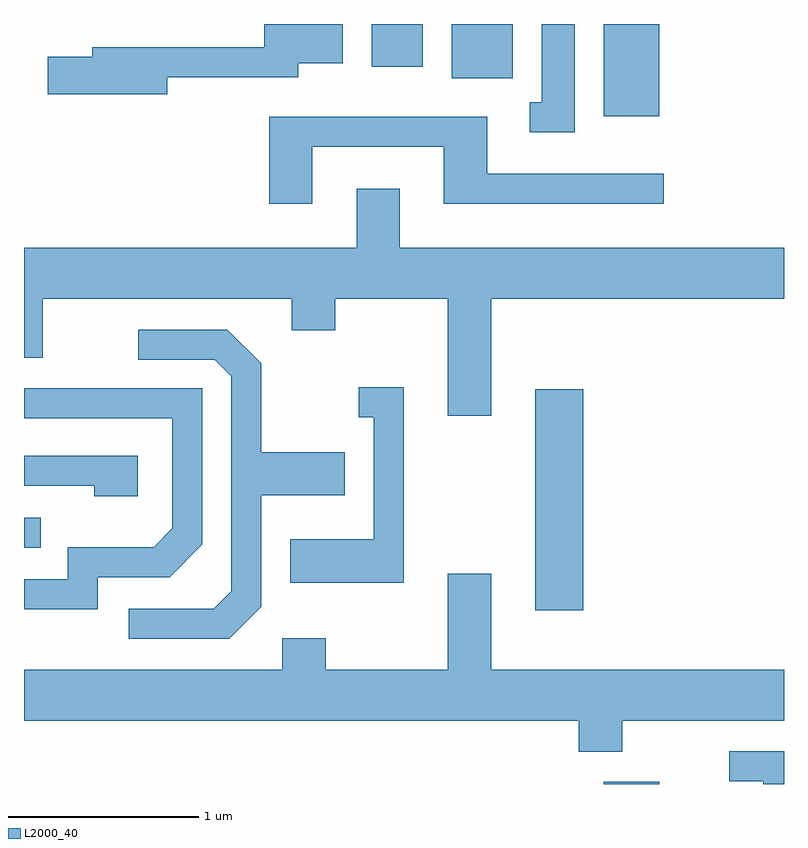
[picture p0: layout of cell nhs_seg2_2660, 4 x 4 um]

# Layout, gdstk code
import gdstk
lib = gdstk.Library(unit=1e-6, precision=1e-09)
def R(c, l, rs):  # rectangles x0, y0, x1, y1
    for r in rs: c.add(gdstk.rectangle(r[:2], r[2:], *l))
def P(c, l, *ps):  # polygons
    for p in ps: c.add(gdstk.Polygon(p, *l))
L2000_40 = (2000, 40)

nhs_seg2_2660 = lib.new_cell('nhs_seg2_2660')
R(nhs_seg2_2660, L2000_40, [(266.661,1005.802,266.954,1005.814), (266.301,1006.716,266.554,1007.879), (263.611,1007.046,263.698,1007.204), (266.661,1009.316,266.954,1009.802), (265.861,1009.516,266.184,1009.802), (265.441,1009.576,265.709,1009.802)])
P(nhs_seg2_2660, L2000_40, [(266.509,1009.802),(266.336,1009.802),(266.336,1009.389),(266.273,1009.389),(266.273,1009.231),(266.509,1009.231)],
  [(264.364,1009.521),(265.054,1009.521),(265.054,1009.596),(265.289,1009.596),(265.289,1009.802),(264.876,1009.802),(264.876,1009.679),(263.971,1009.679),(263.971,1009.629),(263.736,1009.629),(263.736,1009.431),(264.364,1009.431)],
  [(265.129,1009.156),(265.821,1009.156),(265.821,1008.856),(266.978,1008.856),(266.978,1009.014),(266.049,1009.014),(266.049,1009.314),(264.901,1009.314),(264.901,1008.856),(265.129,1008.856)],
  [(266.069,1008.356),(267.611,1008.356),(267.611,1008.624),(265.589,1008.624),(265.589,1008.934),(265.361,1008.934),(265.361,1008.624),(263.611,1008.624),(263.611,1008.046),(263.709,1008.046),(263.709,1008.356),(265.021,1008.356),(265.021,1008.191),(265.249,1008.191),(265.249,1008.356),(265.841,1008.356),(265.841,1007.741),(266.069,1007.741)],
  [(264.859,1006.734),(264.859,1007.321),(265.299,1007.321),(265.299,1007.549),(264.859,1007.549),(264.859,1008.017),(264.682,1008.194),(264.213,1008.194),(264.213,1008.036),(264.614,1008.036),(264.701,1007.949),(264.701,1006.817),(264.609,1006.724),(264.163,1006.724),(264.163,1006.566),(264.692,1006.566)],
  [(265.609,1007.889),(265.373,1007.889),(265.373,1007.731),(265.451,1007.731),(265.451,1007.089),(265.011,1007.089),(265.011,1006.861),(265.609,1006.861)],
  [(263.999,1006.891),(264.377,1006.891),(264.549,1007.064),(264.549,1007.884),(263.611,1007.884),(263.611,1007.726),(264.391,1007.726),(264.391,1007.147),(264.294,1007.049),(263.841,1007.049),(263.841,1006.879),(263.611,1006.879),(263.611,1006.721),(263.999,1006.721)],
  [(264.209,1007.529),(263.611,1007.529),(263.611,1007.371),(263.981,1007.371),(263.981,1007.316),(264.209,1007.316)],
  [(266.531,1005.971),(266.759,1005.971),(266.759,1006.136),(267.611,1006.136),(267.611,1006.404),(266.069,1006.404),(266.069,1006.909),(265.841,1006.909),(265.841,1006.404),(265.199,1006.404),(265.199,1006.569),(264.971,1006.569),(264.971,1006.404),(263.611,1006.404),(263.611,1006.136),(266.531,1006.136)],
  [(267.611,1005.974),(267.323,1005.974),(267.323,1005.816),(267.501,1005.816),(267.501,1005.802),(267.611,1005.802)])

lib.write_gds('nhs_seg2_2660.gds')
